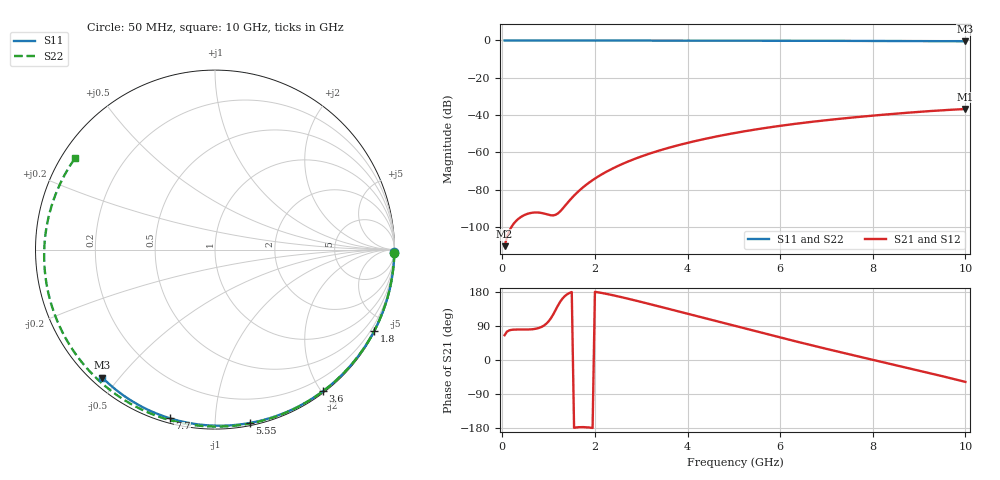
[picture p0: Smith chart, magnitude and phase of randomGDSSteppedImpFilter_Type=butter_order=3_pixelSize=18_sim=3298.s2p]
! freq	dB(S11)	phase(S11)	dB(S12)	phase(S12)
!  dB(S21)	phase(S21)	dB(S22)	phase(S22)
!S-par simulation data
#  GHz  S  DB  R 50
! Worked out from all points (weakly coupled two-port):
!   200 points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, 50 MHz to 10 GHz, reference 50 ohm
!   highest |S21| = -36.74 dB at 10 GHz (marker M1); lowest = -110.2 dB at 50 MHz (marker M2)
!   lowest |S11| = -0.4 dB at 10 GHz (marker M3), VSWR 39.15, Z = 1.54 - j22.6 ohm
!   |S11| at or under -10 dB: nowhere
!   |S22| runs from -0.6 to 0.0 dB; largest |S21 - S12| = 0
!   S11 on the Smith chart (normalised r, x): 50 MHz: open; 1.8 GHz: 0.04, -4.18; 3.6 GHz: 0.02, -2.02; 5.55 GHz: 0.02, -1.22; 7.7 GHz: 0.02, -0.77; 10 GHz: 0.03, -0.45
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0.05  -0.00 -0.8  -110.24 65.5  -110.24 65.5  -0.00 -1.2
0.8  -0.02 -12.1  -92.27 85.0  -92.27 85.0  -0.03 -19.9
1.2  -0.02 -18.1  -92.71 143.3  -92.71 143.3  -0.04 -29.8
1.65  -0.03 -24.7  -80.72 -177.3  -80.72 -177.3  -0.05 -40.6
1.7  -0.03 -25.5  -79.62 -177.1  -79.62 -177.1  -0.05 -41.8
1.75  -0.03 -26.2  -78.57 -177.1  -78.57 -177.1  -0.05 -43.0
1.8  -0.03 -26.9  -77.57 -177.4  -77.57 -177.4  -0.06 -44.2
2.1  -0.04 -31.3  -72.46 177.9  -72.46 177.9  -0.06 -51.3
2.5  -0.05 -37.1  -67.22 167.9  -67.22 167.9  -0.08 -60.5
2.9  -0.06 -42.8  -63.09 156.3  -63.09 156.3  -0.09 -69.6
3.4  -0.07 -49.9  -58.92 140.9  -58.92 140.9  -0.10 -80.5
3.6  -0.07 -52.7  -57.47 134.6  -57.47 134.6  -0.11 -84.9
4.3  -0.09 -62.2  -53.16 112.6  -53.16 112.6  -0.14 -99.5
5.05  -0.11 -72.2  -49.46 89.0  -49.46 89.0  -0.17 -114.7
5.55  -0.13 -78.7  -47.39 73.4  -47.39 73.4  -0.20 -124.5
6.15  -0.15 -86.3  -45.25 54.9  -45.25 54.9  -0.24 -136.1
6.7  -0.18 -93.1  -43.56 38.3  -43.56 38.3  -0.28 -146.6
7.2  -0.21 -99.1  -42.20 23.5  -42.20 23.5  -0.32 -156.2
7.7  -0.24 -105.1  -40.97 9.1  -40.97 9.1  -0.36 -165.8
8.35  -0.29 -112.7  -39.54 -9.4  -39.54 -9.4  -0.43 -178.5
9.2  -0.36 -122.4  -37.91 -33.8  -37.91 -33.8  -0.52 164.1
10  -0.44 -131.4  -36.74 -57.7  -36.74 -57.7  -0.62 146.8
